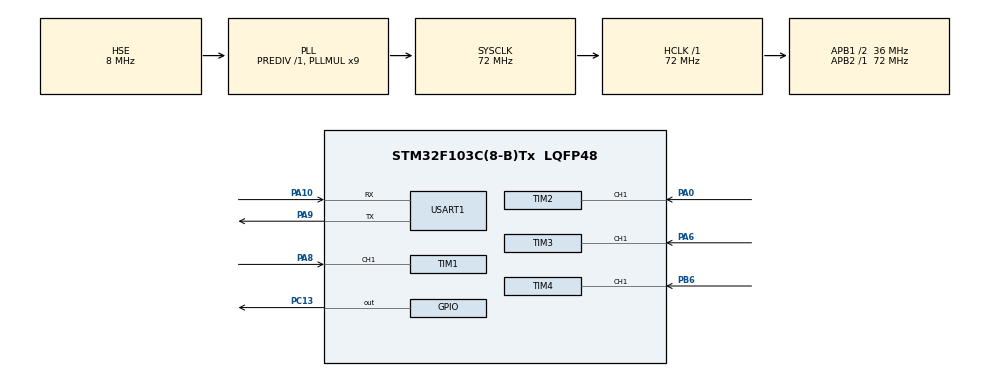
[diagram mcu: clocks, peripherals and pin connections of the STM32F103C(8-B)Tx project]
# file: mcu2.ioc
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Dma.Request0=USART1_RX
Dma.Request1=USART1_TX
Dma.USART1_RX.0.Direction=DMA_PERIPH_TO_MEMORY
Dma.USART1_RX.0.Instance=DMA1_Channel5
Dma.USART1_RX.0.MemDataAlignment=DMA_MDATAALIGN_BYTE
Dma.USART1_RX.0.MemInc=DMA_MINC_ENABLE
Dma.USART1_RX.0.Mode=DMA_NORMAL
Dma.USART1_RX.0.PeriphDataAlignment=DMA_PDATAALIGN_BYTE
Dma.USART1_RX.0.PeriphInc=DMA_PINC_DISABLE
Dma.USART1_RX.0.Priority=DMA_PRIORITY_LOW
Dma.USART1_TX.1.Direction=DMA_MEMORY_TO_PERIPH
Dma.USART1_TX.1.Instance=DMA1_Channel4
Dma.USART1_TX.1.MemDataAlignment=DMA_MDATAALIGN_BYTE
Dma.USART1_TX.1.MemInc=DMA_MINC_ENABLE
Dma.USART1_TX.1.Mode=DMA_CIRCULAR
Dma.USART1_TX.1.PeriphDataAlignment=DMA_PDATAALIGN_BYTE
Dma.USART1_TX.1.PeriphInc=DMA_PINC_DISABLE
Dma.USART1_TX.1.Priority=DMA_PRIORITY_LOW
Mcu.Family=STM32F1
Mcu.Name=STM32F103C(8-B)Tx
Mcu.Package=LQFP48
NVIC.DMA1_Channel4_IRQn=true\:0\:0\:false\:false\:true\:false\:true\:true
NVIC.DMA1_Channel5_IRQn=true\:0\:0\:false\:false\:true\:false\:true\:true
NVIC.PriorityGroup=NVIC_PRIORITYGROUP_4
NVIC.TIM3_IRQn=true\:0\:0\:true\:false\:true\:true\:true\:true
NVIC.USART1_IRQn=true\:0\:0\:true\:false\:true\:false\:true\:true
PA0-WKUP.Signal=S_TIM2_CH1_ETR
PA10.Mode=Asynchronous
PA10.Signal=USART1_RX
PA13.Mode=Serial_Wire
PA13.Signal=SYS_JTMS-SWDIO
PA14.Mode=Serial_Wire
PA14.Signal=SYS_JTCK-SWCLK
PA6.Signal=S_TIM3_CH1
PA8.Signal=S_TIM1_CH1
PA9.Mode=Asynchronous
PA9.Signal=USART1_TX
PB6.Signal=S_TIM4_CH1
PC13-TAMPER-RTC.Signal=GPIO_Output
PD0-OSC_IN.Mode=HSE-External-Oscillator
PD0-OSC_IN.Signal=RCC_OSC_IN
PD1-OSC_OUT.Mode=HSE-External-Oscillator
PD1-OSC_OUT.Signal=RCC_OSC_OUT
ProjectManager.HeapSize=0x200
ProjectManager.StackSize=0x400
ProjectManager.TargetToolchain=MDK-ARM V5.32
RCC.AHBFreq_Value=72000000
RCC.APB1CLKDivider=RCC_HCLK_DIV2
RCC.APB1Freq_Value=36000000
RCC.APB1TimFreq_Value=72000000
RCC.APB2Freq_Value=72000000
RCC.APB2TimFreq_Value=72000000
RCC.HCLKFreq_Value=72000000
RCC.PLLMUL=RCC_PLL_MUL9
RCC.PLLSourceVirtual=RCC_PLLSOURCE_HSE
RCC.SYSCLKFreq_VALUE=72000000
RCC.SYSCLKSource=RCC_SYSCLKSOURCE_PLLCLK
RCC.USBFreq_Value=72000000
SH.S_TIM1_CH1.0=TIM1_CH1,TriggerSource_TI1FP1
SH.S_TIM2_CH1_ETR.0=TIM2_CH1,TriggerSource_TI1FP1
SH.S_TIM3_CH1.0=TIM3_CH1,TriggerSource_TI1FP1
SH.S_TIM4_CH1.0=TIM4_CH1,TriggerSource_TI1FP1
TIM2.Slave_TriggerFilter=0
USART1.VirtualMode=VM_ASYNC
VP_TIM1_VS_ControllerModeClock.Mode=Clock Mode
VP_TIM2_VS_ControllerModeClock.Mode=Clock Mode
VP_TIM3_VS_ControllerModeClock.Mode=Clock Mode
VP_TIM4_VS_ControllerModeClock.Mode=Clock Mode
board=custom

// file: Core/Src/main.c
/* USER CODE BEGIN Header */
/**
  ******************************************************************************
  * @file           : main.c
  * @brief          : Main program body
  ******************************************************************************
  * @attention
  *
  * Copyright (c) 2025 STMicroelectronics.
  * All rights reserved.
  *
  * This software is licensed under terms that can be found in the LICENSE file
  * in the root directory of this software component.
  * If no LICENSE file comes with this software, it is provided AS-IS.
  *
  ******************************************************************************
  */
/* USER CODE END Header */
#include "main.h"
#include "dma.h"
#include "tim.h"
#include "usart.h"
#include "gpio.h"

/* USER CODE BEGIN Includes */
#include "encoder.h"
#include "uart_sub_tx.h"
#include "uart_sub_rx.h"
/* USER CODE END Includes */

/* USER CODE BEGIN PV */
uint32_t last_encoder_time = 0;
/* USER CODE END PV */

void SystemClock_Config(void);

int main(void)
{

  /* MCU Configuration--------------------------------------------------------*/

  /* Reset of all peripherals, Initializes the Flash interface and the Systick. */
  HAL_Init();

  /* Configure the system clock */
  SystemClock_Config();

  /* Initialize all configured peripherals */
  MX_GPIO_Init();
  MX_DMA_Init();
  MX_TIM1_Init();
  MX_TIM2_Init();
  MX_TIM3_Init();
  MX_TIM4_Init();
  MX_USART1_UART_Init();
  /* USER CODE BEGIN 2 */
  Encoder_Init();

  UART_Sub_RxInit();

  /* USER CODE END 2 */

  /* Infinite loop */
  /* USER CODE BEGIN WHILE */
  while (1)
  {
    HAL_Delay(1);

    uint32_t now = HAL_GetTick();
    if(now - last_encoder_time >= 10)
    {
      last_encoder_time = now;
      Encoder_Update();
      UART_Sub_Send_RealSpeed();
    }

    /* USER CODE END WHILE */

  }
}

void SystemClock_Config(void)
{
  RCC_OscInitTypeDef RCC_OscInitStruct = {0};
  RCC_ClkInitTypeDef RCC_ClkInitStruct = {0};

  /** Initializes the RCC Oscillators according to the specified parameters
  * in the RCC_OscInitTypeDef structure.
  */
  RCC_OscInitStruct.OscillatorType = RCC_OSCILLATORTYPE_HSE;
  RCC_OscInitStruct.HSEState = RCC_HSE_ON;
  RCC_OscInitStruct.HSEPredivValue = RCC_HSE_PREDIV_DIV1;
  RCC_OscInitStruct.HSIState = RCC_HSI_ON;
  RCC_OscInitStruct.PLL.PLLState = RCC_PLL_ON;
  RCC_OscInitStruct.PLL.PLLSource = RCC_PLLSOURCE_HSE;
  RCC_OscInitStruct.PLL.PLLMUL = RCC_PLL_MUL9;
  if (HAL_RCC_OscConfig(&RCC_OscInitStruct) != HAL_OK)
  {
    Error_Handler();
  }

  /** Initializes the CPU, AHB and APB buses clocks
  */
  RCC_ClkInitStruct.ClockType = RCC_CLOCKTYPE_HCLK|RCC_CLOCKTYPE_SYSCLK
                              |RCC_CLOCKTYPE_PCLK1|RCC_CLOCKTYPE_PCLK2;
  RCC_ClkInitStruct.SYSCLKSource = RCC_SYSCLKSOURCE_PLLCLK;
  RCC_ClkInitStruct.AHBCLKDivider = RCC_SYSCLK_DIV1;
  RCC_ClkInitStruct.APB1CLKDivider = RCC_HCLK_DIV2;
  RCC_ClkInitStruct.APB2CLKDivider = RCC_HCLK_DIV1;

  if (HAL_RCC_ClockConfig(&RCC_ClkInitStruct, FLASH_LATENCY_2) != HAL_OK)
  {
    Error_Handler();
  }
}

/* USER CODE BEGIN 4 */
void HAL_UART_RxCpltCallback(UART_HandleTypeDef *huart)
{
    if(huart->Instance == USART1)
    {
        UART_Sub_RxParse(); // 解析接收到的数据
        HAL_UART_Receive_DMA(&huart1, sub_rxbuf, 7); // 重新启动DMA接收
    }
}
/* USER CODE END 4 */

void Error_Handler(void)
{
  __disable_irq();
  while (1)
  {
  }
}
